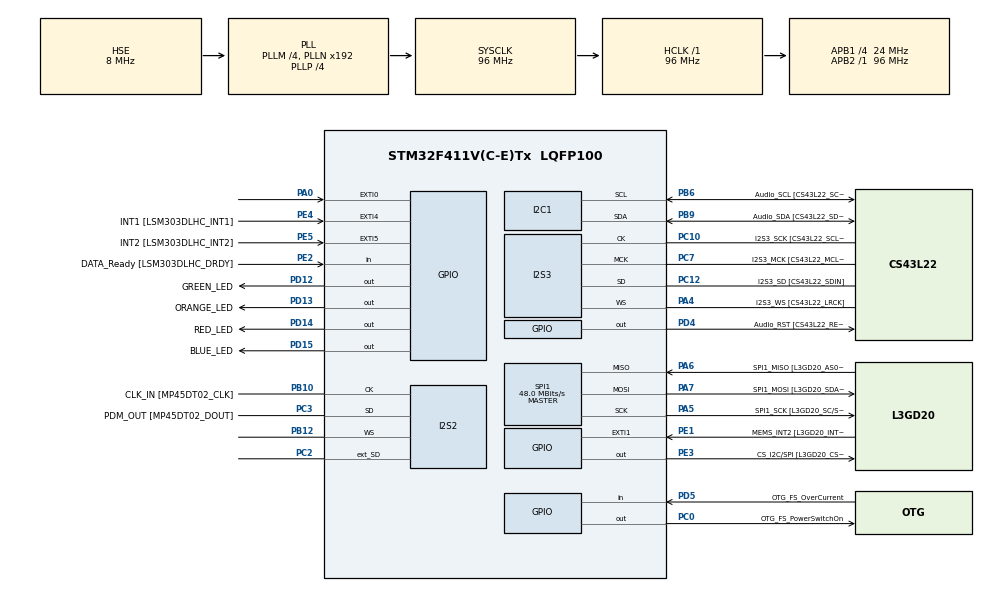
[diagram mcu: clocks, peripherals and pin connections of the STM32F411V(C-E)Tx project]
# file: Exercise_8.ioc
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FREERTOS.BinarySemaphores01=CriticalResourceSemaphore,Dynamic,NULL
FREERTOS.Tasks01=GREEN_LED,0,128,Start_GREEN_LED,Default,NULL,Dynamic,NULL,NULL;RED_LED,0,128,Start_RED_LED,Default,NULL,Dynamic,NULL,NULL;ORANGE_LED,1,128,Start_ORANGE_LED,Default,NULL,Dynamic,NULL,NULL
I2S2.AudioFreq=I2S_AUDIOFREQ_96K
I2S2.ErrorAudioFreq=0.15 %
I2S2.FullDuplexMode=I2S_FULLDUPLEXMODE_ENABLE
I2S2.Instance=SPI$Index
I2S2.RealAudioFreq=96.153 KHz
I2S2.VirtualMode=I2S_MODE_MASTER
I2S3.AudioFreq=I2S_AUDIOFREQ_96K
I2S3.ErrorAudioFreq=-6.99 %
I2S3.FullDuplexMode=I2S_FULLDUPLEXMODE_DISABLE
I2S3.Instance=SPI$Index
I2S3.RealAudioFreq=89.285 KHz
I2S3.VirtualMode=I2S_MODE_MASTER
Mcu.Family=STM32F4
Mcu.Name=STM32F411V(C-E)Tx
Mcu.Package=LQFP100
NVIC.PriorityGroup=NVIC_PRIORITYGROUP_4
NVIC.TIM1_UP_TIM10_IRQn=true\:0\:0\:false\:false\:true\:false\:false\:true
NVIC.TimeBase=TIM1_UP_TIM10_IRQn
NVIC.TimeBaseIP=TIM1
PA0-WKUP.GPIO_ModeDefaultEXTI=GPIO_MODE_EVT_RISING
PA0-WKUP.Signal=GPXTI0
PA10.GPIO_Label=OTG_FS_ID
PA10.Signal=USB_OTG_FS_ID
PA11.GPIO_Label=OTG_FS_DM
PA11.Signal=USB_OTG_FS_DM
PA12.GPIO_Label=OTG_FS_DP
PA12.Signal=USB_OTG_FS_DP
PA13.GPIO_Label=SWDIO
PA13.Mode=Serial_Wire
PA13.Signal=SYS_JTMS-SWDIO
PA14.GPIO_Label=SWCLK
PA14.Mode=Serial_Wire
PA14.Signal=SYS_JTCK-SWCLK
PA4.GPIO_Label=I2S3_WS [CS43L22_LRCK]
PA4.GPIO_Mode=GPIO_MODE_AF_PP
PA4.GPIO_PuPd=GPIO_NOPULL
PA4.GPIO_Speed=GPIO_SPEED_FREQ_LOW
PA4.Mode=Half_Duplex_Master
PA4.Signal=I2S3_WS
PA5.GPIO_Label=SPI1_SCK [L3GD20_SC/SPC]
PA5.Mode=Full_Duplex_Master
PA5.Signal=SPI1_SCK
PA6.GPIO_Label=SPI1_MISO [L3GD20_AS0/SDO]
PA6.Mode=Full_Duplex_Master
PA6.Signal=SPI1_MISO
PA7.GPIO_Label=SPI1_MOSI [L3GD20_SDA/SDI/SDO]
PA7.Mode=Full_Duplex_Master
PA7.Signal=SPI1_MOSI
PA9.GPIO_Label=VBUS_FS
PA9.Signal=USB_OTG_FS_VBUS
PB10.GPIO_Label=CLK_IN [MP45DT02_CLK]
PB10.Mode=Full_Duplex_Master
PB10.Signal=I2S2_CK
PB12.Mode=Full_Duplex_Master
PB12.Signal=I2S2_WS
PB3.GPIO_Label=SWO
PB3.Signal=SYS_JTDO-SWO
PB6.GPIO_Label=Audio_SCL [CS43L22_SCL]
PB6.GPIO_Mode=GPIO_MODE_AF_OD
PB6.GPIO_PuPd=GPIO_NOPULL
PB6.GPIO_Speed=GPIO_SPEED_FREQ_LOW
PB6.Mode=I2C
PB6.Signal=I2C1_SCL
PB9.GPIO_Label=Audio_SDA [CS43L22_SDA]
PB9.GPIO_Mode=GPIO_MODE_AF_OD
PB9.GPIO_PuPd=GPIO_NOPULL
PB9.GPIO_Speed=GPIO_SPEED_FREQ_LOW
PB9.Mode=I2C
PB9.Signal=I2C1_SDA
PC0.GPIO_Label=OTG_FS_PowerSwitchOn
PC0.PinState=GPIO_PIN_SET
PC0.Signal=GPIO_Output
PC10.GPIO_Label=I2S3_SCK [CS43L22_SCLK]
PC10.GPIO_Mode=GPIO_MODE_AF_PP
PC10.GPIO_PuPd=GPIO_NOPULL
PC10.GPIO_Speed=GPIO_SPEED_FREQ_LOW
PC10.Mode=Half_Duplex_Master
PC10.Signal=I2S3_CK
PC12.GPIO_Label=I2S3_SD [CS43L22_SDIN]
PC12.GPIO_Mode=GPIO_MODE_AF_PP
PC12.GPIO_PuPd=GPIO_NOPULL
PC12.GPIO_Speed=GPIO_SPEED_FREQ_LOW
PC12.Mode=Half_Duplex_Master
PC12.Signal=I2S3_SD
PC14-OSC32_IN.GPIO_Label=PC14-OSC32_IN
PC14-OSC32_IN.Mode=LSE-External-Oscillator
PC14-OSC32_IN.Signal=RCC_OSC32_IN
PC15-OSC32_OUT.GPIO_Label=PC15-OSC32_OUT
PC15-OSC32_OUT.Mode=LSE-External-Oscillator
PC15-OSC32_OUT.Signal=RCC_OSC32_OUT
PC2.Mode=Full_Duplex_Master
PC2.Signal=I2S2_ext_SD
PC3.GPIO_Label=PDM_OUT [MP45DT02_DOUT]
PC3.Mode=Full_Duplex_Master
PC3.Signal=I2S2_SD
PC7.GPIO_Label=I2S3_MCK [CS43L22_MCLK]
PC7.GPIO_Mode=GPIO_MODE_AF_PP
PC7.GPIO_PuPd=GPIO_NOPULL
PC7.GPIO_Speed=GPIO_SPEED_FREQ_LOW
PC7.Mode=Master_Clock_Activated
PC7.Signal=I2S3_MCK
PD12.GPIO_Label=GREEN_LED
PD12.GPIO_PuPd=GPIO_NOPULL
PD12.GPIO_Speed=GPIO_SPEED_FREQ_LOW
PD12.Signal=GPIO_Output
PD13.GPIO_Label=ORANGE_LED
PD13.GPIO_PuPd=GPIO_NOPULL
PD13.GPIO_Speed=GPIO_SPEED_FREQ_LOW
PD13.Signal=GPIO_Output
PD14.GPIO_Label=RED_LED
PD14.GPIO_PuPd=GPIO_NOPULL
PD14.GPIO_Speed=GPIO_SPEED_FREQ_LOW
PD14.Signal=GPIO_Output
PD15.GPIO_Label=BLUE_LED
PD15.GPIO_PuPd=GPIO_NOPULL
PD15.GPIO_Speed=GPIO_SPEED_FREQ_LOW
PD15.Signal=GPIO_Output
PD4.GPIO_Label=Audio_RST [CS43L22_RESET]
PD4.Signal=GPIO_Output
PD5.GPIO_Label=OTG_FS_OverCurrent
PD5.Signal=GPIO_Input
PE1.GPIO_Label=MEMS_INT2 [L3GD20_INT2]
PE1.GPIO_ModeDefaultEXTI=GPIO_MODE_EVT_RISING
PE1.Signal=GPXTI1
PE2.GPIO_Label=DATA_Ready [LSM303DLHC_DRDY]
PE2.Signal=GPIO_Input
PE3.GPIO_Label=CS_I2C/SPI [L3GD20_CS_I2C/SPI]
PE3.Signal=GPIO_Output
PE4.GPIO_Label=INT1 [LSM303DLHC_INT1]
PE4.GPIO_ModeDefaultEXTI=GPIO_MODE_EVT_RISING
PE4.Signal=GPXTI4
PE5.GPIO_Label=INT2 [LSM303DLHC_INT2]
PE5.GPIO_ModeDefaultEXTI=GPIO_MODE_EVT_RISING
PE5.Signal=GPXTI5
PH0\ -\ OSC_IN.GPIO_Label=PH0-OSC_IN
PH0\ -\ OSC_IN.Mode=HSE-External-Oscillator
PH0\ -\ OSC_IN.Signal=RCC_OSC_IN
PH1\ -\ OSC_OUT.GPIO_Label=PH1-OSC_OUT
PH1\ -\ OSC_OUT.Mode=HSE-External-Oscillator
PH1\ -\ OSC_OUT.Signal=RCC_OSC_OUT
ProjectManager.HeapSize=0x200
ProjectManager.StackSize=0x400
ProjectManager.TargetToolchain=STM32CubeIDE
RCC.48MHZClocksFreq_Value=48000000
RCC.AHBFreq_Value=96000000
RCC.APB1CLKDivider=RCC_HCLK_DIV4
RCC.APB1Freq_Value=24000000
RCC.APB1TimFreq_Value=48000000
RCC.APB2Freq_Value=96000000
RCC.APB2TimFreq_Value=96000000
RCC.CortexFreq_Value=96000000
RCC.HCLKFreq_Value=96000000
RCC.HSE_VALUE=8000000
RCC.HSI_VALUE=16000000
RCC.PLLI2SM=5
RCC.PLLI2SN=200
RCC.PLLM=4
RCC.PLLP=RCC_PLLP_DIV4
RCC.PLLQ=8
RCC.PLLSourceVirtual=RCC_PLLSOURCE_HSE
RCC.SYSCLKFreq_VALUE=96000000
RCC.SYSCLKSource=RCC_SYSCLKSOURCE_PLLCLK
RCC.VCOOutputFreq_Value=384000000
SPI1.BaudRatePrescaler=SPI_BAUDRATEPRESCALER_2
SPI1.CalculateBaudRate=48.0 MBits/s
SPI1.Direction=SPI_DIRECTION_2LINES
SPI1.Mode=SPI_MODE_MASTER
SPI1.VirtualType=VM_MASTER
VP_FREERTOS_VS_CMSIS_V1.Mode=CMSIS_V1
VP_SYS_VS_tim1.Mode=TIM1
board=STM32F411E-DISCO

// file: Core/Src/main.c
/* USER CODE BEGIN Header */
/**
  ******************************************************************************
  * @file           : main.c
  * @brief          : Main program body
  ******************************************************************************
  * @attention
  *
  * <h2><center>&copy; Copyright (c) 2024 STMicroelectronics.
  * All rights reserved.</center></h2>
  *
  * This software component is licensed by ST under Ultimate Liberty license
  * SLA0044, the "License"; You may not use this file except in compliance with
  * the License. You may obtain a copy of the License at:
  *                             www.st.com/SLA0044
  *
  ******************************************************************************
  */
/* USER CODE END Header */

#include "main.h"
#include "cmsis_os.h"

I2C_HandleTypeDef hi2c1;

I2S_HandleTypeDef hi2s2;
I2S_HandleTypeDef hi2s3;

SPI_HandleTypeDef hspi1;

osThreadId GREEN_LEDHandle;
osThreadId RED_LEDHandle;
osThreadId ORANGE_LEDHandle;
osSemaphoreId CriticalResourceSemaphoreHandle;

void SystemClock_Config(void);
static void MX_GPIO_Init(void);
static void MX_I2C1_Init(void);
static void MX_I2S2_Init(void);
static void MX_I2S3_Init(void);
static void MX_SPI1_Init(void);
void Start_GREEN_LED(void const * argument);
void Start_RED_LED(void const * argument);
void Start_ORANGE_LED(void const * argument);

/* USER CODE BEGIN PFP */
int Start_Flag = 1;
/* USER CODE END PFP */

/* USER CODE BEGIN 0 */
void accessFunction()
{
  if(Start_Flag == 1)
  {
	Start_Flag = 0;
  }
  else
  {
    HAL_GPIO_TogglePin(BLUE_LED_GPIO_Port, BLUE_LED_Pin);
//    HAL_GPIO_WritePin(GPIOD, BLUE_LED, GPIO_PIN_SET);
  }

  for(int i = 0; i < 2000000; i++);
  Start_Flag = 1;
  return;
}
/* USER CODE END 0 */

int main(void)
{

  /* MCU Configuration--------------------------------------------------------*/

  /* Reset of all peripherals, Initializes the Flash interface and the Systick. */
  HAL_Init();

  /* Configure the system clock */
  SystemClock_Config();

  /* Initialize all configured peripherals */
  MX_GPIO_Init();
  MX_I2C1_Init();
  MX_I2S2_Init();
  MX_I2S3_Init();
  MX_SPI1_Init();

  /* Create the semaphores(s) */
  /* definition and creation of CriticalResourceSemaphore */
  osSemaphoreDef(CriticalResourceSemaphore);
  CriticalResourceSemaphoreHandle = osSemaphoreCreate(osSemaphore(CriticalResourceSemaphore), 1);

  /* Create the thread(s) */
  /* definition and creation of GREEN_LED */
  osThreadDef(GREEN_LED, Start_GREEN_LED, osPriorityNormal, 0, 128);
  GREEN_LEDHandle = osThreadCreate(osThread(GREEN_LED), NULL);

  /* definition and creation of RED_LED */
  osThreadDef(RED_LED, Start_RED_LED, osPriorityNormal, 0, 128);
  RED_LEDHandle = osThreadCreate(osThread(RED_LED), NULL);

  /* definition and creation of ORANGE_LED */
  osThreadDef(ORANGE_LED, Start_ORANGE_LED, osPriorityAboveNormal, 0, 128);
  ORANGE_LEDHandle = osThreadCreate(osThread(ORANGE_LED), NULL);

  /* Start scheduler */
  osKernelStart();

  /* We should never get here as control is now taken by the scheduler */

  /* Infinite loop */
  while (1)
  {

  }
}

void SystemClock_Config(void)
{
  RCC_OscInitTypeDef RCC_OscInitStruct = {0};
  RCC_ClkInitTypeDef RCC_ClkInitStruct = {0};
  RCC_PeriphCLKInitTypeDef PeriphClkInitStruct = {0};

  /** Configure the main internal regulator output voltage
  */
  __HAL_RCC_PWR_CLK_ENABLE();
  __HAL_PWR_VOLTAGESCALING_CONFIG(PWR_REGULATOR_VOLTAGE_SCALE1);
  /** Initializes the CPU, AHB and APB busses clocks
  */
  RCC_OscInitStruct.OscillatorType = RCC_OSCILLATORTYPE_HSE;
  RCC_OscInitStruct.HSEState = RCC_HSE_ON;
  RCC_OscInitStruct.PLL.PLLState = RCC_PLL_ON;
  RCC_OscInitStruct.PLL.PLLSource = RCC_PLLSOURCE_HSE;
  RCC_OscInitStruct.PLL.PLLM = 4;
  RCC_OscInitStruct.PLL.PLLN = 192;
  RCC_OscInitStruct.PLL.PLLP = RCC_PLLP_DIV4;
  RCC_OscInitStruct.PLL.PLLQ = 8;
  if (HAL_RCC_OscConfig(&RCC_OscInitStruct) != HAL_OK)
  {
    Error_Handler();
  }
  /** Initializes the CPU, AHB and APB busses clocks
  */
  RCC_ClkInitStruct.ClockType = RCC_CLOCKTYPE_HCLK|RCC_CLOCKTYPE_SYSCLK
                              |RCC_CLOCKTYPE_PCLK1|RCC_CLOCKTYPE_PCLK2;
  RCC_ClkInitStruct.SYSCLKSource = RCC_SYSCLKSOURCE_PLLCLK;
  RCC_ClkInitStruct.AHBCLKDivider = RCC_SYSCLK_DIV1;
  RCC_ClkInitStruct.APB1CLKDivider = RCC_HCLK_DIV4;
  RCC_ClkInitStruct.APB2CLKDivider = RCC_HCLK_DIV1;

  if (HAL_RCC_ClockConfig(&RCC_ClkInitStruct, FLASH_LATENCY_3) != HAL_OK)
  {
    Error_Handler();
  }
  PeriphClkInitStruct.PeriphClockSelection = RCC_PERIPHCLK_I2S;
  PeriphClkInitStruct.PLLI2S.PLLI2SN = 200;
  PeriphClkInitStruct.PLLI2S.PLLI2SM = 5;
  PeriphClkInitStruct.PLLI2S.PLLI2SR = 2;
  if (HAL_RCCEx_PeriphCLKConfig(&PeriphClkInitStruct) != HAL_OK)
  {
    Error_Handler();
  }
}

static void MX_I2C1_Init(void)
{

  hi2c1.Instance = I2C1;
  hi2c1.Init.ClockSpeed = 100000;
  hi2c1.Init.DutyCycle = I2C_DUTYCYCLE_2;
  hi2c1.Init.OwnAddress1 = 0;
  hi2c1.Init.AddressingMode = I2C_ADDRESSINGMODE_7BIT;
  hi2c1.Init.DualAddressMode = I2C_DUALADDRESS_DISABLE;
  hi2c1.Init.OwnAddress2 = 0;
  hi2c1.Init.GeneralCallMode = I2C_GENERALCALL_DISABLE;
  hi2c1.Init.NoStretchMode = I2C_NOSTRETCH_DISABLE;
  if (HAL_I2C_Init(&hi2c1) != HAL_OK)
  {
    Error_Handler();
  }

}

static void MX_I2S2_Init(void)
{

  hi2s2.Instance = SPI2;
  hi2s2.Init.Mode = I2S_MODE_MASTER_TX;
  hi2s2.Init.Standard = I2S_STANDARD_PHILIPS;
  hi2s2.Init.DataFormat = I2S_DATAFORMAT_16B;
  hi2s2.Init.MCLKOutput = I2S_MCLKOUTPUT_DISABLE;
  hi2s2.Init.AudioFreq = I2S_AUDIOFREQ_96K;
  hi2s2.Init.CPOL = I2S_CPOL_LOW;
  hi2s2.Init.ClockSource = I2S_CLOCK_PLL;
  hi2s2.Init.FullDuplexMode = I2S_FULLDUPLEXMODE_ENABLE;
  if (HAL_I2S_Init(&hi2s2) != HAL_OK)
  {
    Error_Handler();
  }

}

static void MX_I2S3_Init(void)
{

  hi2s3.Instance = SPI3;
  hi2s3.Init.Mode = I2S_MODE_MASTER_TX;
  hi2s3.Init.Standard = I2S_STANDARD_PHILIPS;
  hi2s3.Init.DataFormat = I2S_DATAFORMAT_16B;
  hi2s3.Init.MCLKOutput = I2S_MCLKOUTPUT_ENABLE;
  hi2s3.Init.AudioFreq = I2S_AUDIOFREQ_96K;
  hi2s3.Init.CPOL = I2S_CPOL_LOW;
  hi2s3.Init.ClockSource = I2S_CLOCK_PLL;
  hi2s3.Init.FullDuplexMode = I2S_FULLDUPLEXMODE_DISABLE;
  if (HAL_I2S_Init(&hi2s3) != HAL_OK)
  {
    Error_Handler();
  }

}

static void MX_SPI1_Init(void)
{

  /* SPI1 parameter configuration*/
  hspi1.Instance = SPI1;
  hspi1.Init.Mode = SPI_MODE_MASTER;
  hspi1.Init.Direction = SPI_DIRECTION_2LINES;
  hspi1.Init.DataSize = SPI_DATASIZE_8BIT;
  hspi1.Init.CLKPolarity = SPI_POLARITY_LOW;
  hspi1.Init.CLKPhase = SPI_PHASE_1EDGE;
  hspi1.Init.NSS = SPI_NSS_SOFT;
  hspi1.Init.BaudRatePrescaler = SPI_BAUDRATEPRESCALER_2;
  hspi1.Init.FirstBit = SPI_FIRSTBIT_MSB;
  hspi1.Init.TIMode = SPI_TIMODE_DISABLE;
  hspi1.Init.CRCCalculation = SPI_CRCCALCULATION_DISABLE;
  hspi1.Init.CRCPolynomial = 10;
  if (HAL_SPI_Init(&hspi1) != HAL_OK)
  {
    Error_Handler();
  }

}

static void MX_GPIO_Init(void)
{
  GPIO_InitTypeDef GPIO_InitStruct = {0};

  /* GPIO Ports Clock Enable */
  __HAL_RCC_GPIOE_CLK_ENABLE();
  __HAL_RCC_GPIOC_CLK_ENABLE();
  __HAL_RCC_GPIOH_CLK_ENABLE();
  __HAL_RCC_GPIOA_CLK_ENABLE();
  __HAL_RCC_GPIOB_CLK_ENABLE();
  __HAL_RCC_GPIOD_CLK_ENABLE();

  /*Configure GPIO pin Output Level */
  HAL_GPIO_WritePin(CS_I2C_SPI_GPIO_Port, CS_I2C_SPI_Pin, GPIO_PIN_RESET);

  /*Configure GPIO pin Output Level */
  HAL_GPIO_WritePin(OTG_FS_PowerSwitchOn_GPIO_Port, OTG_FS_PowerSwitchOn_Pin, GPIO_PIN_SET);

  /*Configure GPIO pin Output Level */
  HAL_GPIO_WritePin(GPIOD, GREEN_LED_Pin|ORANGE_LED_Pin|RED_LED_Pin|BLUE_LED_Pin
                          |Audio_RST_Pin, GPIO_PIN_RESET);

  /*Configure GPIO pin : DATA_Ready_Pin */
  GPIO_InitStruct.Pin = DATA_Ready_Pin;
  GPIO_InitStruct.Mode = GPIO_MODE_INPUT;
  GPIO_InitStruct.Pull = GPIO_NOPULL;
  HAL_GPIO_Init(DATA_Ready_GPIO_Port, &GPIO_InitStruct);

  /*Configure GPIO pin : CS_I2C_SPI_Pin */
  GPIO_InitStruct.Pin = CS_I2C_SPI_Pin;
  GPIO_InitStruct.Mode = GPIO_MODE_OUTPUT_PP;
  GPIO_InitStruct.Pull = GPIO_NOPULL;
  GPIO_InitStruct.Speed = GPIO_SPEED_FREQ_LOW;
  HAL_GPIO_Init(CS_I2C_SPI_GPIO_Port, &GPIO_InitStruct);

  /*Configure GPIO pins : INT1_Pin INT2_Pin MEMS_INT2_Pin */
  GPIO_InitStruct.Pin = INT1_Pin|INT2_Pin|MEMS_INT2_Pin;
  GPIO_InitStruct.Mode = GPIO_MODE_EVT_RISING;
  GPIO_InitStruct.Pull = GPIO_NOPULL;
  HAL_GPIO_Init(GPIOE, &GPIO_InitStruct);

  /*Configure GPIO pin : OTG_FS_PowerSwitchOn_Pin */
  GPIO_InitStruct.Pin = OTG_FS_PowerSwitchOn_Pin;
  GPIO_InitStruct.Mode = GPIO_MODE_OUTPUT_PP;
  GPIO_InitStruct.Pull = GPIO_NOPULL;
  GPIO_InitStruct.Speed = GPIO_SPEED_FREQ_LOW;
  HAL_GPIO_Init(OTG_FS_PowerSwitchOn_GPIO_Port, &GPIO_InitStruct);

  /*Configure GPIO pin : PA0 */
  GPIO_InitStruct.Pin = GPIO_PIN_0;
  GPIO_InitStruct.Mode = GPIO_MODE_EVT_RISING;
  GPIO_InitStruct.Pull = GPIO_NOPULL;
  HAL_GPIO_Init(GPIOA, &GPIO_InitStruct);

  /*Configure GPIO pins : GREEN_LED_Pin ORANGE_LED_Pin RED_LED_Pin BLUE_LED_Pin
                           Audio_RST_Pin */
  GPIO_InitStruct.Pin = GREEN_LED_Pin|ORANGE_LED_Pin|RED_LED_Pin|BLUE_LED_Pin
                          |Audio_RST_Pin;
  GPIO_InitStruct.Mode = GPIO_MODE_OUTPUT_PP;
  GPIO_InitStruct.Pull = GPIO_NOPULL;
  GPIO_InitStruct.Speed = GPIO_SPEED_FREQ_LOW;
  HAL_GPIO_Init(GPIOD, &GPIO_InitStruct);

  /*Configure GPIO pin : VBUS_FS_Pin */
  GPIO_InitStruct.Pin = VBUS_FS_Pin;
  GPIO_InitStruct.Mode = GPIO_MODE_INPUT;
  GPIO_InitStruct.Pull = GPIO_NOPULL;
  HAL_GPIO_Init(VBUS_FS_GPIO_Port, &GPIO_InitStruct);

  /*Configure GPIO pins : OTG_FS_ID_Pin OTG_FS_DM_Pin OTG_FS_DP_Pin */
  GPIO_InitStruct.Pin = OTG_FS_ID_Pin|OTG_FS_DM_Pin|OTG_FS_DP_Pin;
  GPIO_InitStruct.Mode = GPIO_MODE_AF_PP;
  GPIO_InitStruct.Pull = GPIO_NOPULL;
  GPIO_InitStruct.Speed = GPIO_SPEED_FREQ_VERY_HIGH;
  GPIO_InitStruct.Alternate = GPIO_AF10_OTG_FS;
  HAL_GPIO_Init(GPIOA, &GPIO_InitStruct);

  /*Configure GPIO pin : OTG_FS_OverCurrent_Pin */
  GPIO_InitStruct.Pin = OTG_FS_OverCurrent_Pin;
  GPIO_InitStruct.Mode = GPIO_MODE_INPUT;
  GPIO_InitStruct.Pull = GPIO_NOPULL;
  HAL_GPIO_Init(OTG_FS_OverCurrent_GPIO_Port, &GPIO_InitStruct);

}

void Start_GREEN_LED(void const * argument)
{
  /* USER CODE BEGIN 5 */
  /* Infinite loop */
  for(;;)
  {
    HAL_GPIO_TogglePin(GREEN_LED_GPIO_Port, GREEN_LED_Pin);
    osSemaphoreWait(CriticalResourceSemaphoreHandle, osWaitForever);
    accessFunction();
	osSemaphoreRelease(CriticalResourceSemaphoreHandle);
	osDelay(200);
	HAL_GPIO_TogglePin(GREEN_LED_GPIO_Port, GREEN_LED_Pin);
	osDelay(200);
  }
  /* USER CODE END 5 */
}

void Start_RED_LED(void const * argument)
{
  /* USER CODE BEGIN Start_RED_LED */
  /* Infinite loop */
  for(;;)
  {
	HAL_GPIO_TogglePin(RED_LED_GPIO_Port, RED_LED_Pin);
    osSemaphoreWait(CriticalResourceSemaphoreHandle, osWaitForever);
	accessFunction();
	osSemaphoreRelease(CriticalResourceSemaphoreHandle);
	osDelay(550);
	HAL_GPIO_TogglePin(RED_LED_GPIO_Port, RED_LED_Pin);
	osDelay(550);
  }
  /* USER CODE END Start_RED_LED */
}

void Start_ORANGE_LED(void const * argument)
{
  /* USER CODE BEGIN Start_ORANGE_LED */
  /* Infinite loop */
  for(;;)
  {
    HAL_GPIO_TogglePin(ORANGE_LED_GPIO_Port,ORANGE_LED_Pin);
	osDelay(50);
  }
  /* USER CODE END Start_ORANGE_LED */
}

void HAL_TIM_PeriodElapsedCallback(TIM_HandleTypeDef *htim)
{
  if (htim->Instance == TIM1) {
    HAL_IncTick();
  }
}

void Error_Handler(void)
{
}

/************************ (C) COPYRIGHT STMicroelectronics *****END OF FILE****/
